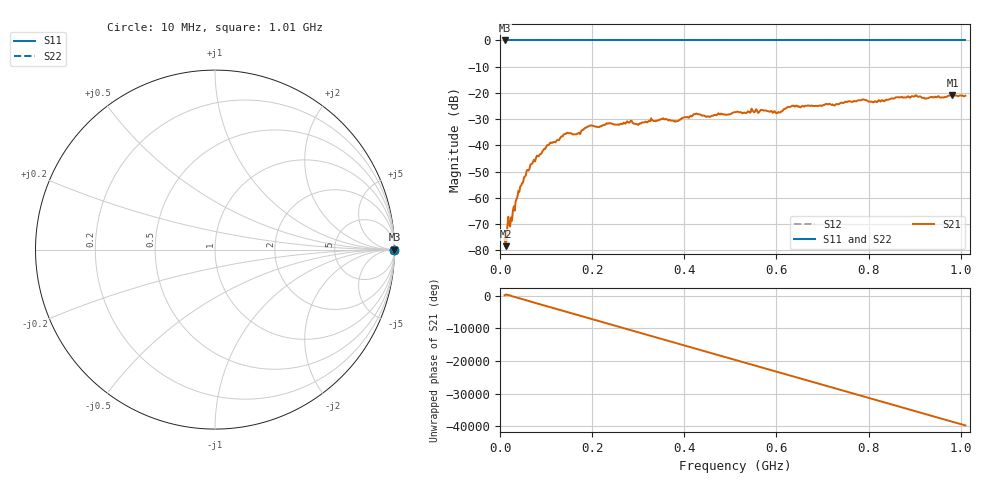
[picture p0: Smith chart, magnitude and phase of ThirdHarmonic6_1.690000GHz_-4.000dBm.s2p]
! 8/16/2025 8:17:33 PM
! C:\ANRITSUVNA\TEMP\TEMP.S2P
! CHANNEL.1
! TR.MEASUREMENT
! RAW.DATA
! RF.CORRECTION.OFF
! AVERAGING.OFF
! IF.BANDWIDTH: 5KHZ
! SWEEPTYPE:  FREQ.SWEEP(Linear)
! Reference Plane Port Info
! PORT:  PORT1  PORT2
! DISTANCE:  0  m  0  m
! TIME:  0  s  0  s
! PHASE.OFFSET:  0  deg.  0  deg.
! LOSS:  0  dB  0  dB
! REF.LOSS:  0  dB  0  dB
! REF.FREQ:  0  Hz  0  Hz
! Power Info
! POWER:  -20  dBm  -20  dBm
! EFF.POWER:  -20  dBm  -20  dBm
! SOURCE.ATTEN:  0  dB  0  dB
! TEST.ATTEN:  0  dB  0  dB
# GHZ S RI R 50.0
! FREQ.GHZ  S11RE  S11IM  S21RE  S21IM  S12RE  S12IM  S22RE  S22IM
!; PortSelection: Port_12
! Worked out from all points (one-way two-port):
!   501 points, 10 MHz to 1.01 GHz, reference 50 ohm
!   highest |S21| = -20.75 dB at 982 MHz (marker M1); lowest = -78.4 dB at 12 MHz (marker M2)
!   lowest |S11| = 0.0 dB at 10 MHz (marker M3)
!   |S11| at or under -10 dB: nowhere
!   |S22| runs from 0.0 to 0.0 dB; largest |S21 - S12| = 1.1
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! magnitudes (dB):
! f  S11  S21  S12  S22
! 10 MHz  0.0  -75.5  0.0  0.0
! 12 MHz  0.0  -78.4  0.0  0.0
! 20 MHz  0.0  -70.4  0.0  0.0
! 24 MHz  0.0  -67.5  0.0  0.0
! 44 MHz  0.0  -55.6  0.0  0.0
! 70 MHz  0.0  -47.0  0.0  0.0
! 106 MHz  0.0  -39.9  0.0  0.0
! 142 MHz  0.0  -35.7  0.0  0.0
! 178 MHz  0.0  -34.2  0.0  0.0
! 196 MHz  0.0  -32.4  0.0  0.0
! 298 MHz  0.0  -32.0  0.0  0.0
! 344 MHz  0.0  -30.5  0.0  0.0
! 382 MHz  0.0  -30.8  0.0  0.0
! 424 MHz  0.0  -28.1  0.0  0.0
! 452 MHz  0.0  -28.9  0.0  0.0
! 510 MHz  0.0  -27.3  0.0  0.0
! 604 MHz  0.0  -27.3  0.0  0.0
! 632 MHz  0.0  -25.1  0.0  0.0
! 678 MHz  0.0  -24.9  0.0  0.0
! 844 MHz  0.0  -22.5  0.0  0.0
! 982 MHz  0.0  -20.8  0.0  0.0
! 1.01 GHz  0.0  -21.1  0.0  0.0
